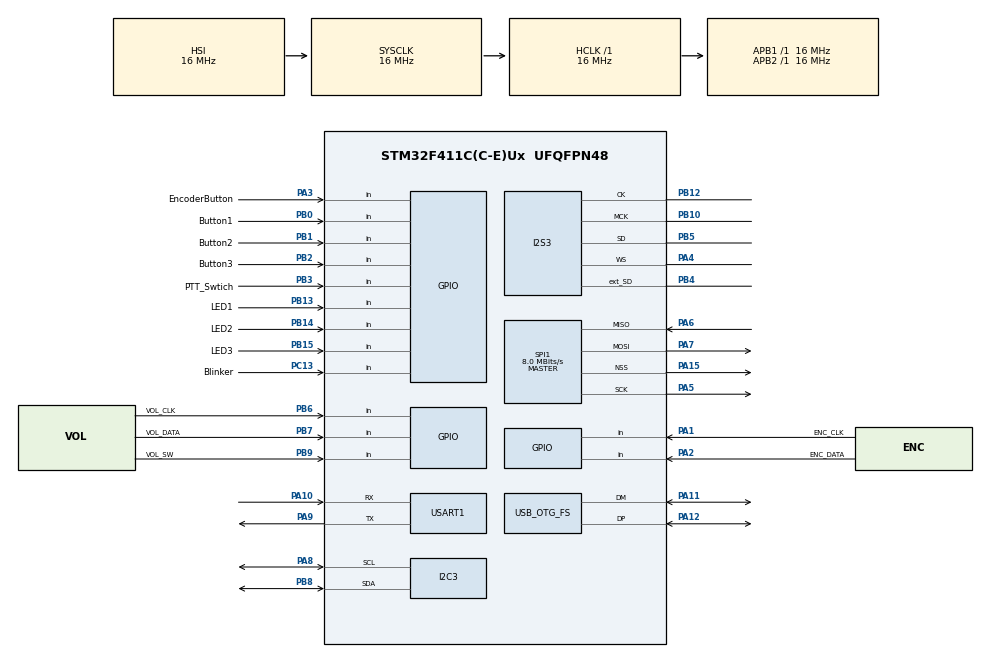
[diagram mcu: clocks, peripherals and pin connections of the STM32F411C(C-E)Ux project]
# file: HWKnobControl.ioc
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AL94.I-CUBE-USBD-COMPOSITE.1.0.3.CompositeCcUSBJjCOMPOSITEJjCDCIiACM=true
AL94.I-CUBE-USBD-COMPOSITE.1.0.3.CompositeCcUSBJjCOMPOSITEJjCOMPOSITE=true
AL94.I-CUBE-USBD-COMPOSITE.1.0.3.CompositeCcUSBJjCOMPOSITEJjCore=true
AL94.I-CUBE-USBD-COMPOSITE.1.0.3.CompositeCcUSBJjCOMPOSITEJjDFU=true
AL94.I-CUBE-USBD-COMPOSITE.1.0.3.CompositeCcUSBJjCOMPOSITEJjMSCIiBOT=true
AL94.I-CUBE-USBD-COMPOSITE.1.0.3.CompositeCcUSBJjCOMPOSITEJjUACIiMIC=true
AL94.I-CUBE-USBD-COMPOSITE.1.0.3.CompositeCcUSBJjCOMPOSITEJjUACIiSPKR=true
AL94.I-CUBE-USBD-COMPOSITE.1.0.3._USBD_CDC_ACM_COUNT=2
AL94.I-CUBE-USBD-COMPOSITE.1.0.3._USBD_USE_CDC_ACM=true
AL94.I-CUBE-USBD-COMPOSITE.1.0.3._USBD_USE_DFU=true
AL94.I-CUBE-USBD-COMPOSITE.1.0.3._USBD_USE_HS=false
AL94.I-CUBE-USBD-COMPOSITE.1.0.3._USBD_USE_UAC_MIC=true
AL94.I-CUBE-USBD-COMPOSITE.1.0.3._USBD_USE_UAC_SPKR=true
I2C3.I2C_Mode=I2C_Standard
I2S3.AudioFreq=I2S_AUDIOFREQ_44K
I2S3.ErrorAudioFreq=2.43 %
I2S3.FullDuplexMode=I2S_FULLDUPLEXMODE_ENABLE
I2S3.Instance=SPI$Index
I2S3.RealAudioFreq=45.072 KHz
I2S3.VirtualMode=I2S_MODE_MASTER
Mcu.Family=STM32F4
Mcu.Name=STM32F411C(C-E)Ux
Mcu.Package=UFQFPN48
NVIC.OTG_FS_IRQn=true\:0\:0\:false\:false\:true\:true\:true\:true
NVIC.PriorityGroup=NVIC_PRIORITYGROUP_4
PA0-WKUP.Mode=SYS_WakeUp0
PA0-WKUP.Signal=SYS_WKUP
PA1.GPIO_Label=ENC_CLK
PA1.Signal=GPIO_Input
PA10.Mode=Asynchronous
PA10.Signal=USART1_RX
PA11.Mode=Device_Only
PA11.Signal=USB_OTG_FS_DM
PA12.Mode=Device_Only
PA12.Signal=USB_OTG_FS_DP
PA13.Mode=Serial_Wire
PA13.Signal=SYS_JTMS-SWDIO
PA14.Mode=Serial_Wire
PA14.Signal=SYS_JTCK-SWCLK
PA15.Mode=NSS_Signal_Hard_Output
PA15.Signal=SPI1_NSS
PA2.GPIO_Label=ENC_DATA
PA2.GPIO_PuPd=GPIO_NOPULL
PA2.Signal=GPIO_Input
PA3.GPIO_Label=EncoderButton
PA3.GPIO_PuPd=GPIO_PULLDOWN
PA3.Signal=GPIO_Input
PA4.Mode=Full_Duplex_Master
PA4.Signal=I2S3_WS
PA5.Mode=Full_Duplex_Master
PA5.Signal=SPI1_SCK
PA6.Mode=Full_Duplex_Master
PA6.Signal=SPI1_MISO
PA7.Mode=Full_Duplex_Master
PA7.Signal=SPI1_MOSI
PA8.Mode=I2C
PA8.Signal=I2C3_SCL
PA9.Mode=Asynchronous
PA9.Signal=USART1_TX
PB0.GPIO_Label=Button1
PB0.Signal=GPIO_Input
PB1.GPIO_Label=Button2
PB1.Signal=GPIO_Input
PB10.Mode=Master_Clock_Activated
PB10.Signal=I2S3_MCK
PB12.Mode=Full_Duplex_Master
PB12.Signal=I2S3_CK
PB13.GPIO_Label=LED1
PB13.GPIO_PuPd=GPIO_PULLDOWN
PB13.Signal=GPIO_Input
PB14.GPIO_Label=LED2
PB14.GPIO_PuPd=GPIO_PULLDOWN
PB14.Signal=GPIO_Input
PB15.GPIO_Label=LED3
PB15.GPIO_PuPd=GPIO_PULLDOWN
PB15.Signal=GPIO_Input
PB2.GPIO_Label=Button3
PB2.Signal=GPIO_Input
PB3.GPIO_Label=PTT_Swtich
PB3.GPIO_PuPd=GPIO_NOPULL
PB3.Signal=GPIO_Input
PB4.Mode=Full_Duplex_Master
PB4.Signal=I2S3_ext_SD
PB5.Mode=Full_Duplex_Master
PB5.Signal=I2S3_SD
PB6.GPIO_Label=VOL_CLK
PB6.Signal=GPIO_Input
PB7.GPIO_Label=VOL_DATA
PB7.Signal=GPIO_Input
PB8.Mode=I2C
PB8.Signal=I2C3_SDA
PB9.GPIO_Label=VOL_SW
PB9.Signal=GPIO_Input
PC13-ANTI_TAMP.GPIO_Label=Blinker
PC13-ANTI_TAMP.Signal=GPIO_Input
PC14-OSC32_IN.Mode=LSE-External-Oscillator
PC14-OSC32_IN.Signal=RCC_OSC32_IN
PC15-OSC32_OUT.Mode=LSE-External-Oscillator
PC15-OSC32_OUT.Signal=RCC_OSC32_OUT
PH0\ -\ OSC_IN.Mode=HSE-External-Oscillator
PH0\ -\ OSC_IN.Signal=RCC_OSC_IN
PH1\ -\ OSC_OUT.Mode=HSE-External-Oscillator
PH1\ -\ OSC_OUT.Signal=RCC_OSC_OUT
ProjectManager.HeapSize=0x200
ProjectManager.StackSize=0x400
ProjectManager.TargetToolchain=STM32CubeIDE
RCC.48MHZClocksFreq_Value=48000000
RCC.AHBFreq_Value=16000000
RCC.APB1Freq_Value=16000000
RCC.APB2Freq_Value=16000000
RCC.CortexFreq_Value=16000000
RCC.HSE_VALUE=25000000
RCC.HSI_VALUE=16000000
RCC.PLLM=15
RCC.PLLN=144
RCC.PLLQ=5
RCC.SYSCLKFreq_VALUE=16000000
RCC.VCOOutputFreq_Value=240000000
SPI1.CalculateBaudRate=8.0 MBits/s
SPI1.Direction=SPI_DIRECTION_2LINES
SPI1.Mode=SPI_MODE_MASTER
SPI1.VirtualNSS=VM_NSSHARD
SPI1.VirtualType=VM_MASTER
USART1.VirtualMode=VM_ASYNC
USB_OTG_FS.VirtualMode=Device_Only
VP_AL94.I-CUBE-USBD-COMPOSITE_VS_USBJjComposite_1.0.0_1.0.3.Mode=USBJjComposite
board=custom

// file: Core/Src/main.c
/* USER CODE BEGIN Header */
/**
  ******************************************************************************
  * @file           : main.c
  * @brief          : Main program body
  ******************************************************************************
  * @attention
  *
  * Copyright (c) 2023 STMicroelectronics.
  * All rights reserved.
  *
  * This software is licensed under terms that can be found in the LICENSE file
  * in the root directory of this software component.
  * If no LICENSE file comes with this software, it is provided AS-IS.
  *
  ******************************************************************************
  */
/* USER CODE END Header */
#include "main.h"
#include "i2c.h"
#include "i2s.h"
#include "spi.h"
#include "usart.h"
#include "usb_otg.h"
#include "gpio.h"

/* USER CODE BEGIN Includes */
#include "usbd_cdc_acm_if.h"
/* USER CODE END Includes */

/* USER CODE BEGIN PV */
uint8_t reg_e = 0x01;
uint8_t reg_r = 0x0a;
uint8_t reg_c = 0x28;
uint8_t reg_l = 0x64;
/* USER CODE END PV */

void SystemClock_Config(void);

/* USER CODE BEGIN 0 */
uint8_t uint8_toupper(uint8_t c){
	if (c >= 'a' && c <= 'z') {
		c = c ^ 0x20;
	}
	return c;
}
void report_version() {
	UartPrintf("F0304;");
}

void set_reg_val(uint8_t *reg, uint8_t *str){
	unsigned int value;
	if (isxdigit(*str) && isxdigit(*(str + 1)))
	{
		sscanf((char *)str, "%02X", &value);
		*reg = (uint8_t) (value & 0xff);
	}
}

void cmd_proc(uint8_t *buffer, uint16_t size) {
	// handle commands
	uint8_t *cp = buffer;
	uint16_t i = size;

	if (size == 0)
		return;

	// uppercase everything
	while (i--) {
		*cp = uint8_toupper(*cp);
		cp++;
	}

	switch (buffer[0]) {
	case 'F':
		if (size != 2)
			return;
		// enqueue F<version>;
		report_version();
		break;
	case 'Z':
		// handle Zr; ZrNN; where r is E,R,C,L, NN is a hex number
		if (size < 3 || size > 5)
			return;  //

		uint8_t is_set = (size == 5);

		switch (buffer[1]) {

		case 'E':
			// enqueue 'ZE<hex>;'
			if (is_set) {
				set_reg_val((uint8_t*) &reg_e, &buffer[2]);
			}
			UartPrintf("ZE%02X;", reg_e);

			break;

		case 'R':
			// enqueue 'ZR<hex>;
			if (is_set) {
				set_reg_val((uint8_t*) &reg_r, &buffer[2]);
			}
			UartPrintf("ZR%02X;", reg_r);
			break;

		case 'C':
			// enqueue 'ZC<hex>;'
			if (is_set) {
				set_reg_val((uint8_t*) &reg_c, &buffer[2]);
			}
			UartPrintf("ZC%02X;", reg_c);
			break;

		case 'L':
			// enqueue 'ZL<hex>;'
			if (is_set) {
				set_reg_val((uint8_t*) &reg_l, &buffer[2]);
			}

			UartPrintf("ZL%02X;", reg_l);

			break;
		}
		break;

	case 'I':
		// Handle Innn; where n is 0,1 corresponding to each of the LEDs
		if (size != 5)
			return;
		if (buffer[1] == '1') {
			HAL_GPIO_WritePin( LED1_GPIO_Port, LED1_Pin, GPIO_PIN_RESET);
		}
		if (buffer[2] == '1') {
			HAL_GPIO_WritePin( LED2_GPIO_Port, LED2_Pin, GPIO_PIN_RESET);
		}
		if (buffer[3] == '1') {
			HAL_GPIO_WritePin( LED3_GPIO_Port, LED3_Pin, GPIO_PIN_RESET);
		}
		if (buffer[1] == '0') {
			HAL_GPIO_WritePin( LED1_GPIO_Port, LED1_Pin, GPIO_PIN_SET);
		}
		if (buffer[2] == '0') {
			HAL_GPIO_WritePin( LED2_GPIO_Port, LED2_Pin, GPIO_PIN_SET);
		}
		if (buffer[3] == '0') {
			HAL_GPIO_WritePin( LED3_GPIO_Port, LED3_Pin, GPIO_PIN_SET);
		}
		break;
	default:
		break;
	}
}
/* USER CODE END 0 */

int main(void)
{
  /* USER CODE BEGIN 1 */
	uint8_t event[EVT_QWIDTH];
	uint8_t usb_data[USB_BUFFER_SIZE];
	uint8_t single_cmd[CMD_BUFFER_SIZE];
	RingBufferU8 rb1;
	uint8_t saw_terminator=0;
	int len = 0;

	RingBufferU8_init(&rb1, usb_data, USB_BUFFER_SIZE);
  /* USER CODE END 1 */

  /* MCU Configuration--------------------------------------------------------*/

  /* Reset of all peripherals, Initializes the Flash interface and the Systick. */
  HAL_Init();

  /* Configure the system clock */
  SystemClock_Config();

  /* Initialize all configured peripherals */
  MX_GPIO_Init();
  MX_I2C3_Init();
  MX_I2S3_Init();
  MX_SPI1_Init();
  MX_USART1_UART_Init();
  MX_USB_OTG_FS_PCD_Init();
  /* USER CODE BEGIN 2 */
  MX_USB_DEVICE_Init();

	// initialize the pushbutton handler with mask byte.
	PushButton_Init(0x0F);
	report_version();
  /* USER CODE END 2 */

  /* Infinite loop */
  while (1)
  {

    /* USER CODE BEGIN 3 */
		if (Evt_DeQueue(event)) {
				switch (event[0]) {

				case EVT_ENCODER_UP:
					// event[1]: encoder_id
					// event[2]: encoder_delta
					//UartPrintf("\r\nEncoder UP %d: delta %d", event[1], event[2]);
					if (event[2] == 1) {
						UartPrintf("U;");
					} else {
						UartPrintf("U%02X;", event[2]);
					}
					break;

				case EVT_ENCODER_DOWN:
					// event[1]: encoder_id
					// event[2]: encoder_delta
					//UartPrintf("\r\nEncoder DOWN %d: delta %d", event[1], event[2]);
					if (event[2] == 1) {
						UartPrintf("D;");
					} else {
						UartPrintf("D%02X;",event[2]);
					}
					break;

				// pushbutton event ================================================
				// event[1]: button id
				// event[2]: PBTN_SCLK, _DCLK, _TCLK, _LCLK, _DOWN, _ENDN

				case EVT_PBTN_INPUT:
					//UartPrintf("\r\nButton id %d, event %d\r\n", event[1], event[2]);
					if (event[2] == PBTN_SCLK) { // single click event
						if (event[1] == 0) {
							UartPrintf("S;");
						} else {
							UartPrintf("X%1dS;", event[1]);
						}
						// for testing of CDC_Notify_FS
						// setting 0x02 will set PTT for DTR if Active High
						// CDC_Notify_FS(0x00);
					} else if (event[2] == PBTN_LCLK) { // long click event
						if (event[1] == 0) {
							UartPrintf("L;");
						} else {
							UartPrintf("X%1dL;", event[1]);
						}
						// for testing of CDC_Notify_FS
						// setting 0x02 will clear PTT for DTR if Active High
						// CDC_Notify_FS(0x02);
					} else if (event[2] == PBTN_DCLK) { // double click
						if (event[1] == 0) {
							UartPrintf("C;");
						} else {
							UartPrintf("X%1dC;", event[1]);
						}
					} else if (event[2] == PBTN_TCLK) {
						//UartPrintf("\r\nButton %d: triple click.", event[1]);
						//PushButton_SetMode(PUSHBTN_MODE_UDOWN, true);
						//UartPrintf("\r\n --> Switch to up-down mode.");
					} else if (event[2] == PBTN_DOWN) {
						//UartPrintf("\r\nButton %d: is being pressed.", event[1]);
					} else if (event[2] == PBTN_ENDN) {
						//UartPrintf("\r\nButton %d: has been released.", event[1]);
						//PushButton_SetMode(PUSHBTN_MODE_CLICK, true);
						//UartPrintf("\r\n --> Switch to click mode.");
					}
					break;

				case EVT_USB_DATA:
					// evt[1] = size
					// evt[16]..[16+USB_MAX_PAYLOAD] is data
					saw_terminator = RingBufferU8_write(&rb1, (const unsigned char *)&event[16], event[1], ';');

					// handle the commands
					if (saw_terminator) {
						while ((len = RingBufferU8_readUntil(&rb1, single_cmd, CMD_BUFFER_SIZE, ';'))) {
							single_cmd[len] = 0;
							cmd_proc(single_cmd, len);
							//UartPrintf("USB cmd: [%s]\n",single_cmd);
						}
					}
					break;
				default:
					break;
				}
			} else {
				// delay here is recommended not to call Evt_DeQueue too frequently
				HAL_Delay(10);
			}
		}
  /* USER CODE END 3 */
}

void SystemClock_Config(void)
{
  RCC_OscInitTypeDef RCC_OscInitStruct = {0};
  RCC_ClkInitTypeDef RCC_ClkInitStruct = {0};

  /** Configure the main internal regulator output voltage
  */
  __HAL_RCC_PWR_CLK_ENABLE();
  __HAL_PWR_VOLTAGESCALING_CONFIG(PWR_REGULATOR_VOLTAGE_SCALE1);

  /** Initializes the RCC Oscillators according to the specified parameters
  * in the RCC_OscInitTypeDef structure.
  */
  RCC_OscInitStruct.OscillatorType = RCC_OSCILLATORTYPE_HSI|RCC_OSCILLATORTYPE_HSE;
  RCC_OscInitStruct.HSEState = RCC_HSE_ON;
  RCC_OscInitStruct.HSIState = RCC_HSI_ON;
  RCC_OscInitStruct.HSICalibrationValue = RCC_HSICALIBRATION_DEFAULT;
  RCC_OscInitStruct.PLL.PLLState = RCC_PLL_ON;
  RCC_OscInitStruct.PLL.PLLSource = RCC_PLLSOURCE_HSE;
  RCC_OscInitStruct.PLL.PLLM = 15;
  RCC_OscInitStruct.PLL.PLLN = 144;
  RCC_OscInitStruct.PLL.PLLP = RCC_PLLP_DIV2;
  RCC_OscInitStruct.PLL.PLLQ = 5;
  if (HAL_RCC_OscConfig(&RCC_OscInitStruct) != HAL_OK)
  {
    Error_Handler();
  }

  /** Initializes the CPU, AHB and APB buses clocks
  */
  RCC_ClkInitStruct.ClockType = RCC_CLOCKTYPE_HCLK|RCC_CLOCKTYPE_SYSCLK
                              |RCC_CLOCKTYPE_PCLK1|RCC_CLOCKTYPE_PCLK2;
  RCC_ClkInitStruct.SYSCLKSource = RCC_SYSCLKSOURCE_HSI;
  RCC_ClkInitStruct.AHBCLKDivider = RCC_SYSCLK_DIV1;
  RCC_ClkInitStruct.APB1CLKDivider = RCC_HCLK_DIV1;
  RCC_ClkInitStruct.APB2CLKDivider = RCC_HCLK_DIV1;

  if (HAL_RCC_ClockConfig(&RCC_ClkInitStruct, FLASH_LATENCY_0) != HAL_OK)
  {
    Error_Handler();
  }
}

/* USER CODE BEGIN 4 */
/** Printf() style UART output. Check the standard c library that comes
 * with the compiler for the scope of the format string it supports.
 */
void UartPrintf(const char *format, ...)
{
	char buffer[128];
	uint16_t size;
	va_list args;

	va_start(args, format);
	size = vsprintf(buffer, format, args);
	va_end(args);
	CDC_Transmit(0,(uint8_t*)buffer, size);
	//HAL_UART_Transmit(&huart1, (uint8_t*)buffer, size, 1000);
}

void Encoder_Init()
{
   // register pushbutton main routine
   //	UsrTimer_Set(PUSHBTN_TMR_PERIOD, 0, PushButton_Routine);
}

/** This function returns the state (click/release) of the pushbuttons
 * in a uint8_t variable, each bit of which corresponds to a button.
 * Note that 1 implies the button is clicked (pressed) and 0 implies the
 * button is released.
 *
 * \return	pushbutton state packed in a uint8_t.
 */
uint8_t PushButton_Read()
{
	uint8_t buttons = 0;
	// button pushed
	if (!HAL_GPIO_ReadPin(EncoderButton_GPIO_Port, EncoderButton_Pin))
	{
		buttons |= 1;
	}
	if (!HAL_GPIO_ReadPin(Button1_GPIO_Port, Button1_Pin)) {
		buttons |= 2;
	}
	if (!HAL_GPIO_ReadPin(Button2_GPIO_Port, Button2_Pin)) {
		buttons |= 4;
	}
	if (!HAL_GPIO_ReadPin(Button3_GPIO_Port, Button3_Pin)) {
		buttons |= 8;
	}
	//if (buttons) {
	//	UartPrintf("Buttons! %02x",buttons);
	//}

	return buttons;
}
// test a KY-040 style rotary encoder module on a blue pill board
// uncomment either LIBMAPLE_CORE or STM32DUINO_CORE
//#define LIBMAPLE_CORE
//#define STM32DUINO_CORE
// for STM32DUINO_CORE be sure to select a serial port in the tools menu

// define encoder pins
// clock and data are from the silkscreen on the encoder module
#define ENC_CLK PB8
#define ENC_DATA PB9

// call this from the systick interrupt every millisecond
// modified from the original code by dannyf
// at https://github.com/dannyf00/My-MCU-Libraries---2nd-try/blob/master/encoder1.c
int encoder1_read(void)
{
  volatile static uint8_t ABs = 0;
  ABs = (ABs << 2) & 0x0f; //left 2 bits now contain the previous AB key read-out;
  ABs |= (HAL_GPIO_ReadPin(GPIOB, GPIO_PIN_8) << 1) | HAL_GPIO_ReadPin(GPIOB, GPIO_PIN_9);
  switch (ABs)
  {
    case 0x0d:
      return +1;
      break;
    case 0x0e:
      return -1;
      break;
  }
  return 0;
}
// generic encoder read with two pins
int encoder_read(GPIO_TypeDef *clk_bank, uint16_t clk_pin, GPIO_TypeDef *data_bank, uint16_t data_pin)
{
  volatile static uint8_t ABs = 0;
  ABs = (ABs << 2) & 0x0f; //left 2 bits now contain the previous AB key read-out;
  ABs |= (HAL_GPIO_ReadPin(clk_bank, clk_pin) << 1) | HAL_GPIO_ReadPin(data_bank, data_pin);
  switch (ABs)
  {
    case 0x0d:
      return +1;
      break;
    case 0x0e:
      return -1;
      break;
  }
  return 0;
}

#define MAX_ENCODER_INTERVAL 100
#define MAX_ENCODER_DIVIDER 25

void encoder1_routine_1ms() {
	static unsigned int msecs_since_last;
	static int duration = 0;
	static int encoder_1_value = 0;
	static int delta = 0;

	uint8_t mult = 0;

	uint8_t event[EVT_QWIDTH];

	// increment duration
	duration--;

	msecs_since_last++;
	if (msecs_since_last > MAX_ENCODER_INTERVAL) msecs_since_last = MAX_ENCODER_INTERVAL;
	mult = msecs_since_last >= MAX_ENCODER_INTERVAL ? 1 : (uint8_t)((MAX_ENCODER_INTERVAL - msecs_since_last)/ MAX_ENCODER_DIVIDER)+1;

	// read encoder values
	delta = encoder1_read();
	if (delta) msecs_since_last = 0;
	encoder_1_value += delta * mult;

	if (duration < 0) {
		if (encoder_1_value < 0) {
			event[0] = EVT_ENCODER_DOWN;
			event[2] = (uint8_t) (-encoder_1_value);
			event[1] = 1;

			// post the event to indicate the end of the down state
			Evt_EnQueue(event);
		}

		if (encoder_1_value > 0) {
			event[0] = EVT_ENCODER_UP;
			event[2] = (uint8_t) (encoder_1_value);
			event[1] = 1;

			// post the event to indicate the end of the down state
			Evt_EnQueue(event);
		}
		duration = reg_r;
		encoder_1_value = 0;
	}

}
/** SysTick callback function override.
 */
void SysTick_Handler_1ms()
{
	// UsrTimer_Routine will have 1msec resolution
	encoder1_routine_1ms();
	UsrTimer_Routine();
	return;
}

void SysTick_Handler_5ms()
{
	// blink the LED
	static int counter_5ms = 0;
	if (counter_5ms++ > 200) {
		counter_5ms = 0;
		HAL_GPIO_TogglePin(Blinker_GPIO_Port, Blinker_Pin);
	}

}
/* USER CODE END 4 */

void Error_Handler(void)
{
  __disable_irq();
  while (1)
  {
  }
}
